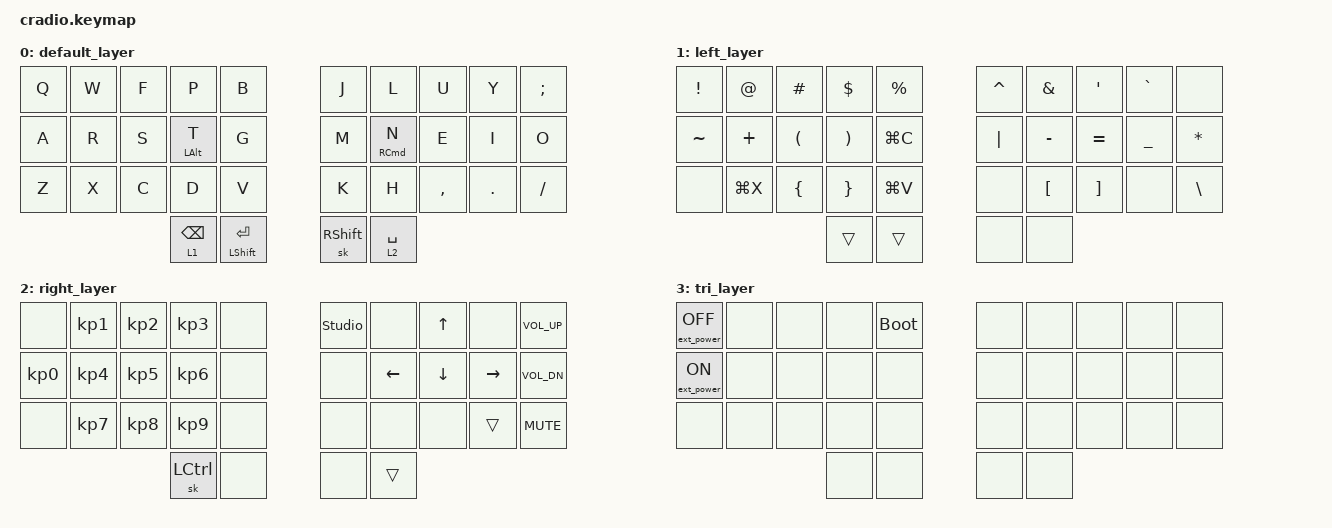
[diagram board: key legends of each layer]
/*
 * Copyright (c) 2020 The ZMK Contributors
 *
 * SPDX-License-Identifier: MIT
 */

#include <behaviors.dtsi>
#include <dt-bindings/zmk/keys.h>
#include <dt-bindings/zmk/bt.h>
#include <dt-bindings/zmk/ext_power.h>

&mt {
  // flavor = "tap-preferred";
  // tapping_term_ms = <200>;
};

/ {
  behaviors {
    hm: homerow_mods {
      compatible = "zmk,behavior-hold-tap";
      label = "HOMEROW_MODS";
      #binding-cells = <2>;
      tapping-term-ms = <200>;
      quick_tap_ms = <0>;
      flavor = "tap-preferred";
      bindings = <&kp>, <&kp>;
    };
    td: tapdance {
      compatible = "zmk,behavior-hold-tap";
      label = "TAPDANCE";
      #binding-cells = <2>;
      tapping-term-ms = <150>;
      quick_tap_ms = <0>;
      flavor = "tap-preferred";
      bindings = <&kp>, <&kp>;
    };
  };

  combos {
    compatible = "zmk,combos";
    combo_esc {
      timeout-ms = <50>;
      key-positions = <0 1>;
      bindings = <&kp ESC>;
    };

    combo_tab {
      timeout-ms = <50>;
      key-positions = <10 11>;
      bindings = <&kp TAB>;
    };

    // Sticky layer 3
    combo_l_layer_3 {
      timeout-ms = <50>;
      key-positions = <30 31>;
      bindings = <&sl 3>;
    };

    // Sticky layer 3
    combo_r_layer_3 {
      timeout-ms = <50>;
      key-positions = <32 33>;
      bindings = <&sl 3>;
    };
  };

  keymap {
    compatible = "zmk,keymap";

    default_layer {
      // ___________________________________________________           ___________________________________________________
      // |    Q    |    W    |    F    |    P    |    B    |           |    J    |    L    |    U    |    Y    |    ;    |
      // |    A    |    R    |    S    | LAlt(T) |    G    |           |    M    | RCmd(N) |    E    |    I    |    O    |
      // |    Z    |    X    |    C    |    D    |    V    |           |    K    |    H    |    ,    |    .    |    /    |
      // ------------------------------| LAYER 1 |  ENTER  |           | St RShft| LAYER 2 |------------------------------
      bindings = <
        &kp Q      &kp W      &kp F       &kp P       &kp B             &kp J      &kp L      &kp U      &kp Y      &kp SEMICOLON
        &kp A      &kp R      &kp S       &hm LALT T  &kp G             &kp M      &hm RCMD N &kp E      &kp I      &kp O
        &kp Z      &kp X      &kp C       &kp D       &kp V             &kp K      &kp H      &kp COMMA  &kp DOT    &kp SLASH
                                          &lt 1 BSPC  &mt LSHFT ENTER   &sk RSHFT  &lt 2 SPACE
      >;
    };

    left_layer {
      // ___________________________________________________           ___________________________________________________
      // |    !    |    @    |    #    |    $    |    %    |           |    ^    |    &    |    '    |    `    |         |
      // |    ~    |    +    |    (    |    )    |  COPY   |           |    |    |    -    |    =    |    _    |    *    |
      // |         | EXTRACT |    {    |    }    |  PASTE  |           |         |    [    |    ]    |         |    \    |
      // ------------------------------|  TRANS  |  TRANS  |           |         |         |------------------------------
      bindings = <
        &kp EXCL   &kp AT     &kp HASH    &kp DOLLAR  &kp PERCENT       &kp CARET  &kp AMPS   &kp APOS   &kp GRAVE  &none
        &kp TILDE  &kp PLUS   &kp LPAR    &kp RPAR    &kp LG(C)         &kp PIPE   &kp MINUS  &kp EQUAL  &kp UNDER  &kp STAR
        &none      &kp LG(X)  &kp LBRC    &kp RBRC    &kp LG(V)         &none      &kp LBKT   &kp RBKT   &none      &kp BSLH
                                          &trans      &trans            &none      &none
      >;
    };

    right_layer {
      // ___________________________________________________           ___________________________________________________
      // |         |    1    |    2    |    3    |         |           | STUDIO  |         |   UP    |         |  VOL +  |
      // |    0    |    4    |    5    |    6    |         |           |         |  LEFT   |  DOWN   |  RIGHT  |  VOL -  |
      // |         |    7    |    8    |    9    |         |           |         |         |         |  TRANS  |  MUTE   |
      // ------------------------------| St LCtrl|         |           |         |  TRANS  |------------------------------
      bindings = <
        &none      &kp KP_N1  &kp KP_N2   &kp KP_N3   &none             &studio_unlock &none  &kp UP     &none      &kp C_VOL_UP
        &kp KP_N0  &kp KP_N4  &kp KP_N5   &kp KP_N6   &none             &none      &kp LEFT   &kp DOWN   &kp RIGHT  &kp C_VOL_DN
        &none      &kp KP_N7  &kp KP_N8   &kp KP_N9   &none             &none      &none      &none      &trans     &kp C_MUTE
                                          &sk LCTRL   &none             &none      &trans
      >;
    };

    tri_layer {
      // ___________________________________________________           ___________________________________________________
      // | EP_OFF  |         |         |         |  RESET  |           |         |         |         |         |         |
      // | EP_ON   |         |         |         |         |           |         |         |         |         |         |
      // |         |         |         |         |         |           |         |         |         |         |         |
      // ------------------------------|         |         |           |         |         |------------------------------
      bindings = <
        &ext_power EP_OFF &none &none     &none       &bootloader       &none      &none      &none      &none      &none
        &ext_power EP_ON  &none &none     &none       &none             &none      &none      &none      &none      &none
        &none      &none      &none       &none       &none             &none      &none      &none      &none      &none
                                          &none       &none             &none      &none
      >;
    };
  };
};
